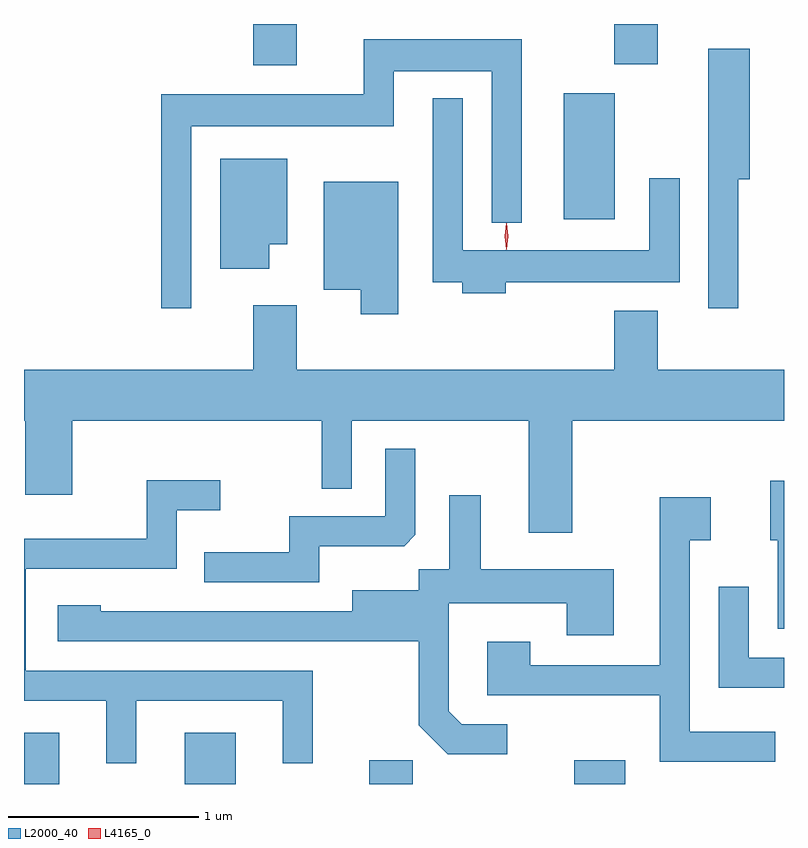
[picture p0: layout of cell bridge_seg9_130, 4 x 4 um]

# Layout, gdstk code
import gdstk
lib = gdstk.Library(unit=1e-6, precision=1e-09)
def R(c, l, rs):  # rectangles x0, y0, x1, y1
    for r in rs: c.add(gdstk.rectangle(r[:2], r[2:], *l))
def P(c, l, *ps):  # polygons
    for p in ps: c.add(gdstk.Polygon(p, *l))
L2000_40 = (2000, 40)
L4165_0 = (4165, 0)

bridge_seg9_130 = lib.new_cell('bridge_seg9_130')
R(bridge_seg9_130, L2000_40, [(1369.404,2065.384,1369.589,2065.654), (1370.251,2065.384,1370.519,2065.654), (1371.221,2065.384,1371.449,2065.509), (1372.301,2065.384,1372.569,2065.509), (1372.246,2068.356,1372.514,2069.019), (1370.611,2069.166,1370.839,2069.384), (1372.511,2069.171,1372.739,2069.384)])
P(bridge_seg9_130, L2000_40, [(1370.284,2068.846),(1371.349,2068.846),(1371.349,2069.136),(1371.866,2069.136),(1371.866,2068.338),(1372.024,2068.338),(1372.024,2069.304),(1371.191,2069.304),(1371.191,2069.014),(1370.126,2069.014),(1370.126,2067.887),(1370.284,2067.887)],
  [(1373.164,2068.566),(1373.224,2068.566),(1373.224,2069.254),(1373.006,2069.254),(1373.006,2067.887),(1373.164,2067.887)],
  [(1371.939,2068.026),(1372.854,2068.026),(1372.854,2068.573),(1372.696,2068.573),(1372.696,2068.194),(1371.714,2068.194),(1371.714,2068.992),(1371.556,2068.992),(1371.556,2068.026),(1371.711,2068.026),(1371.711,2067.966),(1371.939,2067.966)],
  [(1370.694,2068.226),(1370.789,2068.226),(1370.789,2068.674),(1370.436,2068.674),(1370.436,2068.096),(1370.694,2068.096)],
  [(1371.374,2068.554),(1370.981,2068.554),(1370.981,2067.986),(1371.176,2067.986),(1371.176,2067.856),(1371.374,2067.856)],
  [(1372.289,2067.296),(1373.404,2067.296),(1373.404,2067.564),(1372.739,2067.564),(1372.739,2067.874),(1372.511,2067.874),(1372.511,2067.564),(1370.839,2067.564),(1370.839,2067.904),(1370.611,2067.904),(1370.611,2067.564),(1369.404,2067.564),(1369.404,2067.296),(1369.411,2067.296),(1369.411,2066.906),(1369.659,2066.906),(1369.659,2067.296),(1370.971,2067.296),(1370.971,2066.938),(1371.129,2066.938),(1371.129,2067.296),(1372.061,2067.296),(1372.061,2066.706),(1372.289,2066.706)],
  [(1370.959,2066.636),(1371.404,2066.636),(1371.464,2066.697),(1371.464,2067.148),(1371.306,2067.148),(1371.306,2066.794),(1370.801,2066.794),(1370.801,2066.604),(1370.353,2066.604),(1370.353,2066.446),(1370.959,2066.446)],
  [(1369.994,2065.821),(1370.766,2065.821),(1370.766,2065.492),(1370.924,2065.492),(1370.924,2065.979),(1369.414,2065.979),(1369.414,2066.516),(1370.209,2066.516),(1370.209,2066.826),(1370.438,2066.826),(1370.438,2066.984),(1370.051,2066.984),(1370.051,2066.674),(1369.404,2066.674),(1369.404,2065.821),(1369.836,2065.821),(1369.836,2065.492),(1369.994,2065.492)],
  [(1373.404,2066.979),(1373.331,2066.979),(1373.331,2066.666),(1373.371,2066.666),(1373.371,2066.201),(1373.404,2066.201)],
  [(1371.948,2065.699),(1371.707,2065.699),(1371.639,2065.767),(1371.639,2066.336),(1372.261,2066.336),(1372.261,2066.166),(1372.509,2066.166),(1372.509,2066.514),(1371.809,2066.514),(1371.809,2066.903),(1371.641,2066.903),(1371.641,2066.514),(1371.481,2066.514),(1371.481,2066.404),(1371.131,2066.404),(1371.131,2066.294),(1369.809,2066.294),(1369.809,2066.324),(1369.581,2066.324),(1369.581,2066.136),(1371.481,2066.136),(1371.481,2065.693),(1371.634,2065.541),(1371.948,2065.541)],
  [(1373.358,2065.659),(1372.909,2065.659),(1372.909,2066.666),(1373.019,2066.666),(1373.019,2066.894),(1372.751,2066.894),(1372.751,2066.009),(1372.069,2066.009),(1372.069,2066.134),(1371.841,2066.134),(1371.841,2065.851),(1372.751,2065.851),(1372.751,2065.501),(1373.358,2065.501)],
  [(1373.404,2066.049),(1373.219,2066.049),(1373.219,2066.423),(1373.061,2066.423),(1373.061,2065.891),(1373.404,2065.891)])
P(bridge_seg9_130, L4165_0, [(1371.943,2068.197),(1371.942,2068.198),(1371.933,2068.267),(1371.942,2068.336),(1371.943,2068.336),(1371.944,2068.336),(1371.953,2068.267),(1371.944,2068.198)],
  [(1371.942,2068.2),(1371.933,2068.266),(1371.942,2068.333),(1371.943,2068.333),(1371.944,2068.333),(1371.953,2068.266),(1371.944,2068.2),(1371.943,2068.2)])

lib.write_gds('bridge_seg9_130.gds')
